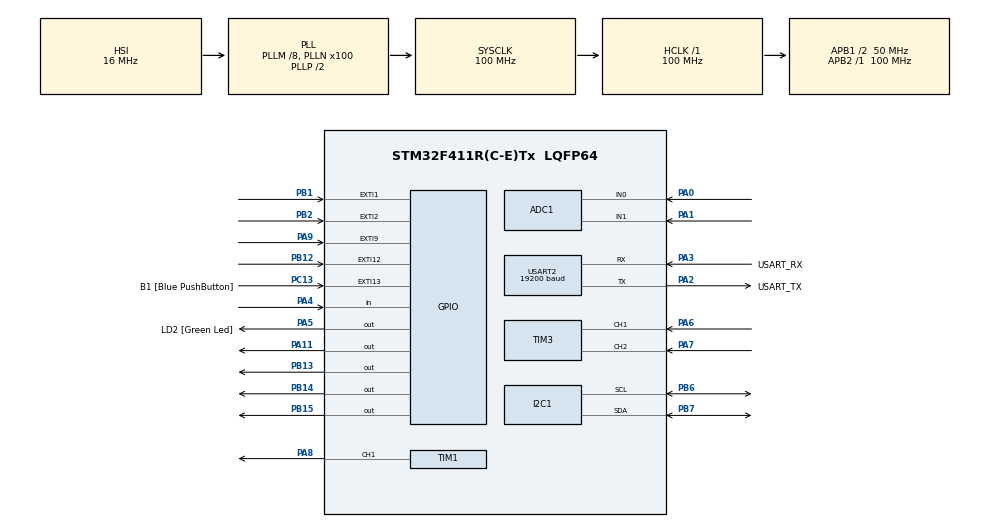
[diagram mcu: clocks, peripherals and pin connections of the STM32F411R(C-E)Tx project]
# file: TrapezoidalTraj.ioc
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ADC1.Channel-0\#ChannelRegularConversion=ADC_CHANNEL_0
ADC1.Channel-1\#ChannelRegularConversion=ADC_CHANNEL_1
ADC1.ContinuousConvMode=ENABLE
ADC1.DMAContinuousRequests=ENABLE
ADC1.EOCSelection=ADC_EOC_SINGLE_CONV
ADC1.NbrOfConversion=2
ADC1.NbrOfConversionFlag=1
ADC1.Rank-0\#ChannelRegularConversion=1
ADC1.Rank-1\#ChannelRegularConversion=2
ADC1.SamplingTime-0\#ChannelRegularConversion=ADC_SAMPLETIME_56CYCLES
ADC1.SamplingTime-1\#ChannelRegularConversion=ADC_SAMPLETIME_56CYCLES
ADC1.ScanConvMode=ENABLE
ADC1.master=1
Dma.ADC1.1.Direction=DMA_PERIPH_TO_MEMORY
Dma.ADC1.1.FIFOMode=DMA_FIFOMODE_DISABLE
Dma.ADC1.1.Instance=DMA2_Stream0
Dma.ADC1.1.MemDataAlignment=DMA_MDATAALIGN_HALFWORD
Dma.ADC1.1.MemInc=DMA_MINC_ENABLE
Dma.ADC1.1.Mode=DMA_CIRCULAR
Dma.ADC1.1.PeriphDataAlignment=DMA_PDATAALIGN_HALFWORD
Dma.ADC1.1.PeriphInc=DMA_PINC_DISABLE
Dma.ADC1.1.Priority=DMA_PRIORITY_LOW
Dma.I2C1_RX.2.Direction=DMA_PERIPH_TO_MEMORY
Dma.I2C1_RX.2.FIFOMode=DMA_FIFOMODE_DISABLE
Dma.I2C1_RX.2.Instance=DMA1_Stream0
Dma.I2C1_RX.2.MemDataAlignment=DMA_MDATAALIGN_BYTE
Dma.I2C1_RX.2.MemInc=DMA_MINC_ENABLE
Dma.I2C1_RX.2.Mode=DMA_CIRCULAR
Dma.I2C1_RX.2.PeriphDataAlignment=DMA_PDATAALIGN_BYTE
Dma.I2C1_RX.2.PeriphInc=DMA_PINC_DISABLE
Dma.I2C1_RX.2.Priority=DMA_PRIORITY_LOW
Dma.Request0=USART2_TX
Dma.Request1=ADC1
Dma.Request2=I2C1_RX
Dma.USART2_TX.0.Direction=DMA_MEMORY_TO_PERIPH
Dma.USART2_TX.0.FIFOMode=DMA_FIFOMODE_DISABLE
Dma.USART2_TX.0.Instance=DMA1_Stream6
Dma.USART2_TX.0.MemDataAlignment=DMA_MDATAALIGN_BYTE
Dma.USART2_TX.0.MemInc=DMA_MINC_ENABLE
Dma.USART2_TX.0.Mode=DMA_NORMAL
Dma.USART2_TX.0.PeriphDataAlignment=DMA_PDATAALIGN_BYTE
Dma.USART2_TX.0.PeriphInc=DMA_PINC_DISABLE
Dma.USART2_TX.0.Priority=DMA_PRIORITY_LOW
Mcu.Family=STM32F4
Mcu.Name=STM32F411R(C-E)Tx
Mcu.Package=LQFP64
Mcu.UserConstants=QEI_PERIOD,65536
NVIC.DMA1_Stream0_IRQn=true\:0\:0\:false\:false\:true\:false\:true\:true
NVIC.DMA1_Stream6_IRQn=true\:0\:0\:false\:false\:true\:false\:true\:true
NVIC.DMA2_Stream0_IRQn=true\:0\:0\:false\:false\:true\:false\:true\:true
NVIC.EXTI15_10_IRQn=true\:0\:0\:false\:false\:true\:true\:true\:true
NVIC.EXTI1_IRQn=true\:0\:0\:false\:false\:true\:true\:true\:true
NVIC.EXTI2_IRQn=true\:0\:0\:false\:false\:true\:true\:true\:true
NVIC.EXTI9_5_IRQn=true\:0\:0\:false\:false\:true\:true\:true\:true
NVIC.I2C1_ER_IRQn=true\:0\:0\:false\:false\:true\:true\:true\:true
NVIC.I2C1_EV_IRQn=true\:0\:0\:false\:false\:true\:true\:true\:true
NVIC.PriorityGroup=NVIC_PRIORITYGROUP_0
NVIC.TIM1_TRG_COM_TIM11_IRQn=true\:0\:0\:false\:false\:true\:true\:true\:true
NVIC.TIM3_IRQn=true\:0\:0\:false\:false\:true\:true\:true\:true
NVIC.TIM5_IRQn=true\:0\:0\:false\:false\:true\:true\:true\:true
NVIC.USART2_IRQn=true\:0\:0\:false\:false\:true\:true\:true\:true
PA0-WKUP.Signal=ADCx_IN0
PA1.Signal=ADCx_IN1
PA11.Signal=GPIO_Output
PA13.GPIO_Label=TMS
PA13.Mode=Trace_Asynchronous_SW
PA13.Signal=SYS_JTMS-SWDIO
PA14.GPIO_Label=TCK
PA14.Mode=Trace_Asynchronous_SW
PA14.Signal=SYS_JTCK-SWCLK
PA2.GPIO_Label=USART_TX
PA2.Mode=Asynchronous
PA2.Signal=USART2_TX
PA3.GPIO_Label=USART_RX
PA3.Mode=Asynchronous
PA3.Signal=USART2_RX
PA4.Signal=GPIO_Input
PA5.GPIO_Label=LD2 [Green Led]
PA5.Signal=GPIO_Output
PA6.Signal=S_TIM3_CH1
PA7.Signal=S_TIM3_CH2
PA8.Signal=S_TIM1_CH1
PA9.GPIO_PuPd=GPIO_PULLUP
PA9.Signal=GPXTI9
PB1.GPIO_PuPd=GPIO_PULLUP
PB1.Signal=GPXTI1
PB12.GPIO_ModeDefaultEXTI=GPIO_MODE_IT_RISING_FALLING
PB12.Signal=GPXTI12
PB13.Signal=GPIO_Output
PB14.Signal=GPIO_Output
PB15.Signal=GPIO_Output
PB2.GPIO_PuPd=GPIO_PULLUP
PB2.Signal=GPXTI2
PB3.GPIO_Label=SWO
PB3.Mode=Trace_Asynchronous_SW
PB3.Signal=SYS_JTDO-SWO
PB6.Mode=I2C
PB6.Signal=I2C1_SCL
PB7.Mode=I2C
PB7.Signal=I2C1_SDA
PC13-ANTI_TAMP.GPIO_Label=B1 [Blue PushButton]
PC13-ANTI_TAMP.GPIO_ModeDefaultEXTI=GPIO_MODE_IT_FALLING
PC13-ANTI_TAMP.Signal=GPXTI13
PC14-OSC32_IN.Mode=LSE-External-Oscillator
PC14-OSC32_IN.Signal=RCC_OSC32_IN
PC15-OSC32_OUT.Mode=LSE-External-Oscillator
PC15-OSC32_OUT.Signal=RCC_OSC32_OUT
PH0\ -\ OSC_IN.Mode=HSE-External-Clock-Source
PH0\ -\ OSC_IN.Signal=RCC_OSC_IN
PH1\ -\ OSC_OUT.Mode=HSE-External-Clock-Source
PH1\ -\ OSC_OUT.Signal=RCC_OSC_OUT
ProjectManager.HeapSize=0x200
ProjectManager.StackSize=0x400
ProjectManager.TargetToolchain=STM32CubeIDE
RCC.48MHZClocksFreq_Value=50000000
RCC.AHBFreq_Value=100000000
RCC.APB1CLKDivider=RCC_HCLK_DIV2
RCC.APB1Freq_Value=50000000
RCC.APB1TimFreq_Value=100000000
RCC.APB2Freq_Value=100000000
RCC.APB2TimFreq_Value=100000000
RCC.CortexFreq_Value=100000000
RCC.FLatency-AdvancedSettings=FLASH_LATENCY_3
RCC.HCLKFreq_Value=100000000
RCC.HSE_VALUE=8000000
RCC.HSI_VALUE=16000000
RCC.PLLM=8
RCC.PLLN=100
RCC.SYSCLKFreq_VALUE=100000000
RCC.SYSCLKSource=RCC_SYSCLKSOURCE_PLLCLK
RCC.VCOOutputFreq_Value=200000000
SH.ADCx_IN0.0=ADC1_IN0,IN0
SH.ADCx_IN1.0=ADC1_IN1,IN1
SH.S_TIM1_CH1.0=TIM1_CH1,PWM Generation1 CH1
SH.S_TIM3_CH1.0=TIM3_CH1,Encoder_Interface
SH.S_TIM3_CH2.0=TIM3_CH2,Encoder_Interface
TIM1.Channel-PWM\ Generation1\ CH1=TIM_CHANNEL_1
TIM1.Period=49999
TIM1.Prescaler=0
TIM1.Pulse-PWM\ Generation1\ CH1=0
TIM11.Channel=TIM_CHANNEL_1
TIM11.OCMode_1=TIM_OCMODE_ACTIVE
TIM11.Period=2005
TIM11.Prescaler=99
TIM11.Pulse=1433
TIM3.EncoderMode=TIM_ENCODERMODE_TI12
TIM3.Period=QEI_PERIOD - 1
TIM5.Period=99999
TIM5.Prescaler=0
USART2.BaudRate=19200
USART2.Parity=PARITY_EVEN
USART2.VirtualMode=VM_ASYNC
USART2.WordLength=WORDLENGTH_9B
VP_TIM11_VS_ClockSourceINT.Mode=Enable_Timer
VP_TIM11_VS_no_output1.Mode=Output Compare1 No Output
VP_TIM1_VS_ClockSourceINT.Mode=Internal
VP_TIM5_VS_ClockSourceINT.Mode=Internal
board=NUCLEO-F411RE

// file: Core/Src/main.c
/* USER CODE BEGIN Header */
/**
  ******************************************************************************
  * @file           : main.c
  * @brief          : Main program body
  ******************************************************************************
  * @attention
  *
  * Copyright (c) 2023 STMicroelectronics.
  * All rights reserved.
  *
  * This software is licensed under terms that can be found in the LICENSE file
  * in the root directory of this software component.
  * If no LICENSE file comes with this software, it is provided AS-IS.
  *
  ******************************************************************************
  */
/* USER CODE END Header */
#include "main.h"

/* USER CODE BEGIN Includes */
#include "arm_math.h"
#include "Encoder.h"
#include "TrapezoidalTrajectory.h"
#include "Controller.h"
#include "LinearDrive.h"
#include "ModBusRTU.h"
#include "joyStick.h"
#include "holePositionsCartesian.h"
#include "EndEffector.h"
#include "Effstatus.h"
#include "BaseSystemStateMachine.h"

/* USER CODE END Includes */

ADC_HandleTypeDef hadc1;
DMA_HandleTypeDef hdma_adc1;

I2C_HandleTypeDef hi2c1;
DMA_HandleTypeDef hdma_i2c1_rx;

TIM_HandleTypeDef htim1;
TIM_HandleTypeDef htim3;
TIM_HandleTypeDef htim5;
TIM_HandleTypeDef htim11;

UART_HandleTypeDef huart2;
DMA_HandleTypeDef hdma_usart2_tx;

/* USER CODE BEGIN PV */
//Parameters =================================================================================
// Trajectory --------------------------------------------------------------------------------
uint64_t t_traj = 0;	  // [us] 		Time use in trajectory function
uint64_t t_total_actual = 0;
float q_des;			  // [mm] 		Desire position calculated from trajectory
float qdot_des;			  // [mm/s] 	Desire velocity calculated from trajectory
float qddot_des;		  // [mm/s^2] 	Desire acceleration calculated from trajectory
Traj  traj;
float Pi = 0;		  	  // [mm]
float Pf = 0;			  // [mm]
float Pf_last = 0;
uint8_t SteadyStateFlag = 0;
//// Time -----------------------------------------------------------------------------------
uint64_t _micros = 0;
// QEI --------------------------------------------------------------------------------------
QEIStructureTypeDef QEIData = {0};
// PID --------------------------------------------------------------------------------------
float PulseWidthModulation = 0;
uint8_t ControllerFlag = 0;
PID Controller;
uint8_t emerpass = 0;
enum {Idle, Follow} state = Idle;
// Stroke Safety ----------------------------------------------------------------------------
uint8_t P_disallow = 0;
uint8_t N_disallow = 0;
// Set Home ---------------------------------------------------------------------------------
uint8_t SetHomeYFlag = 1;
uint8_t CenterFlag = 0;
// Elec -------------------------------------------------------------------------------------
//EndEffector
uint8_t 	softReset_cmd[] = {0x00,0xFF,0x55,0xAA};
uint8_t		emerMode_cmd[]  = {0xF1,0x99,0x99,0x99};
uint8_t		exitEmer_cmd[]  = {0xE5,0x7A,0xFF,0x81};
uint8_t 	testMode_cmd[]  = {0x01,0x10,0x99,0x99};
uint8_t 	exitTest_cmd[]  = {0x01,0x00,0x99,0x99};
uint8_t		runMode_cmd[]   = {0x10,0x13,0x99,0x99};
uint8_t		exitRun_cmd[]   = {0x10,0x8C,0x99,0x99};
uint8_t		pickup_cmd[]    = {0x10,0x5A,0x99,0x99};
uint8_t		place_cmd[]     = {0x10,0x69,0x99,0x99};
uint8_t 	AllOff_cmd[]	= {0x01,0x00,0x99,0x99,0x10,0x8C,0x99,0x99};

//uint8_t 	exitEmerAndAllOff = exitEmer
uint8_t 	exitEmerAndtestMode_cmd[] 	= {0xE5,0x7A,0xFF,0x81,0x01,0x10,0x99,0x99};
uint8_t 	exitEmerAndrunMode_cmd[] 	= {0xE5,0x7A,0xFF,0x81,0x10,0x13,0x99,0x99};
uint8_t 	exitEmerAndpickup_cmd[] 	= {0xE5,0x7A,0xFF,0x81,0x10,0x5A,0x99,0x99};
uint8_t 	exitEmerAndplace_cmd[] 		= {0xE5,0x7A,0xFF,0x81,0x10,0x69,0x99,0x99};

uint8_t 	effst[1];
uint8_t     readFlag 					= 0;
uint8_t 	writeflag_ls 				= 0;
uint8_t 	effstatus;
uint8_t 	effstatus_temp;
uint8_t 	effreg_temp;

uint16_t 	EffRegState					= 0;

uint8_t 	EndEffectorSoftResetFlag 	= 1;
uint8_t		EffAllOff_Flag				= 0;
uint8_t		EffLaserOn_Flag				= 0;
uint8_t		EffGripperOn_Flag			= 0;
uint8_t		EffGripperPick_Flag			= 0;
uint8_t		EffGripperPlace_Flag		= 0;
uint8_t 	eff_action 					= 0;
uint16_t 	eff_l 						= 0;
uint16_t 	eff_c 						= 0;
uint16_t 	effst_mb 					= 0;
// Emergency Switch
uint8_t emer_pushed = 1;
// Photoelectric sensor
uint8_t 	pe1_st;
uint8_t 	pe2_st;					//Photoelectric Sensor Value
uint8_t 	pe3_st;
//joy stick----------------------------------------
uint16_t adcRawData[20];
uint32_t IN0[10]; //X
uint32_t IN1[10]; //Y
uint8_t JoyStickSwitch = 0;
uint32_t X_axis, Y_axis;
uint32_t joystickXaxis, joystickYaxis;
uint8_t JoyStickReadyFlag = 0;
float DummyA;
float DummyB;
//Overshoot Testing--------------------------------
float  max_pos = 0;
float  overshoot = 0;
//nine holes of tray-------------------------------
float32_t Pickreference[2] = {0, 0};
float32_t Pickopposite[2] = {0, 0};
float32_t PickrotationAngleRadian = 0;
float32_t PickrotationAngleDegree = 0;
float32_t PickTray9holes[18];
float32_t Placereference[2] = {0, 0};
float32_t Placeopposite[2] = {0, 0};
float32_t PlacerotationAngleRadian = 0;
float32_t PlacerotationAngleDegree = 0;
float32_t PlaceTray9holes[18];
uint8_t GoalReadyFlag = 0;
// Modbus -----------------------------------------------------------------------------------
ModbusHandleTypedef hmodbus;
u16u8_t registerFrame[70];
// Base System ------------------------------------------------------------------------------
uint8_t SetPickTrayFlag = 0;
uint8_t SetPlaceTrayFlag = 0;
uint8_t SetHomeFlag = 0;
uint8_t RunTrayFlag = 0;
uint8_t RunPointFlag = 0;
//===========================================================================================
/* USER CODE END PV */

void SystemClock_Config(void);
static void MX_GPIO_Init(void);
static void MX_DMA_Init(void);
static void MX_USART2_UART_Init(void);
static void MX_TIM5_Init(void);
static void MX_TIM1_Init(void);
static void MX_TIM3_Init(void);
static void MX_TIM11_Init(void);
static void MX_ADC1_Init(void);
static void MX_I2C1_Init(void);
/* USER CODE BEGIN PFP */
void ControllerState();
void check_pe();
/* USER CODE END PFP */

int main(void)
{

  /* MCU Configuration--------------------------------------------------------*/

  /* Reset of all peripherals, Initializes the Flash interface and the Systick. */	HAL_Init();

  /* Configure the system clock */
  SystemClock_Config();

  /* Initialize all configured peripherals */
  MX_GPIO_Init();
  MX_DMA_Init();
  MX_USART2_UART_Init();
  MX_TIM5_Init();
  MX_TIM1_Init();
  MX_TIM3_Init();
  MX_TIM11_Init();
  MX_ADC1_Init();
  MX_I2C1_Init();
  /* USER CODE BEGIN 2 */
  HAL_TIM_Base_Start_IT(&htim5);
  HAL_TIM_Base_Start(&htim1);
  HAL_TIM_Encoder_Start(&htim3, TIM_CHANNEL_ALL);

  //eff_write(testMode_cmd);
  HAL_TIM_PWM_Start(&htim1, TIM_CHANNEL_1);

  Controller.Kp = 1100;
  Controller.Ki = 10;
  Controller.Kd = 0;

  hmodbus.huart = &huart2;
  hmodbus.htim = &htim11;
  hmodbus.slaveAddress = 0x15;
  hmodbus.RegisterSize =70;
  Modbus_init(&hmodbus, registerFrame);

  //joy stick--------------------------
  HAL_ADC_Start_DMA(&hadc1, adcRawData, 20);
  //-----------------------------------

//	PickTray9holes[1] = 300;
//	PlaceTray9holes[1] = -300;
//	PickTray9holes[3] = 300;
//	PlaceTray9holes[3] = -300;
//	PickTray9holes[5] = 200;
//	PlaceTray9holes[5] = -200;
//	PickTray9holes[7] = 200;
//	PlaceTray9holes[7] = -200;
//	PickTray9holes[9] = 100;
//	PlaceTray9holes[9] = -100;
//	PickTray9holes[11] = 100;
//	PlaceTray9holes[11] = -100;
//	PickTray9holes[13] = 100;
//	PlaceTray9holes[13] = -100;
//	PickTray9holes[15] = 200;
//	PlaceTray9holes[15] = -300;
//	PickTray9holes[17] = 300;
//	PlaceTray9holes[17] = -50;

//  	PickTray9holes[1] = 300;
//  	PlaceTray9holes[1] = -300;
//  	PickTray9holes[3] = 300;
//  	PlaceTray9holes[3] = -300;
//  	PickTray9holes[5] = 300;
//  	PlaceTray9holes[5] = -300;
//  	PickTray9holes[7] = 300;
//  	PlaceTray9holes[7] = -300;
//  	PickTray9holes[9] = 300;
//  	PlaceTray9holes[9] = -300;
//  	PickTray9holes[11] = 300;
//  	PlaceTray9holes[11] = -300;
//  	PickTray9holes[13] = 300;
//  	PlaceTray9holes[13] = -300;
//  	PickTray9holes[15] = 300;
//  	PlaceTray9holes[15] = -300;
//  	PickTray9holes[17] = 300;
//  	PlaceTray9holes[17] = -300;

//  Pickreference[0] = 100;
//  Pickreference[1] = 100;
//  PickrotationAngleRadian = 0.785;
//
//  Placereference[0] = -67.2;
//  Placereference[1] = -239.8;
//  PlacerotationAngleRadian = -1.853;

  /* USER CODE END 2 */

  /* Infinite loop */
  while (1)
  {

    /* USER CODE BEGIN 3 */
	  static uint64_t timestamp = 0;
	  if (micros(&htim5) >= timestamp)
	  {
		  timestamp = micros(&htim5) + 2000;

		  SetHome(&htim3, &htim1);

		  if (EndEffectorSoftResetFlag)
		  {
			  eff_write(softReset_cmd);
			  EndEffectorSoftResetFlag = 0;
		  }

//		  eff_c = registerFrame[2].U16;
//		  if(eff_l != eff_c)
//		  {
//			  eff_action = 1;
//		  }

		  switch (registerFrame[1].U16)
		  {
		  case 0b00001:
			  SetPickTrayFlag = 1;
		  break;
		  case 0b00010:
			  SetPlaceTrayFlag = 1;
		  break;
		  case 0b00100:
			  SetHomeFlag = 1;
		  break;
		  case 0b01000:
			  RunTrayFlag = 1;
		  break;
		  case 0b10000:
			  RunPointFlag = 1;
		  break;
		  }

//		  EffRegState = registerFrame[2].U16;
//
//		  switch(EffRegState){
//		  case 0b0000:	//everything off
//			  if(eff_action == 1){
//				  EffAllOff_Flag = 1;
//				  eff_action = 0;
//			  }
//			  break;
//		  case 0b0001:	//laser on
//			  if(eff_action == 1){
//				  EffLaserOn_Flag = 1;
//				  eff_action = 0;
//			  }
//			  break;
//		  case 0b0010:	//gripper on
//			  if(eff_action == 1){
//				  EffGripperOn_Flag = 1;
//				  eff_action = 0;
//			  }
//			  break;
//		  case 0b0110:	//gripper picking
//			  if(eff_action == 1){
//				  EffGripperPick_Flag = 1;
//				  eff_action = 0;
//			  }
//			  break;
//		  case 0b1010:	//gripper placing
//			  if(eff_action == 1){
//				  EffGripperPlace_Flag = 1;
//				  eff_action = 0;
//			  }
//			  break;
//		  }

		  if (emer_pushed)
		  {
			  if (!(SetPickTrayFlag || SetPlaceTrayFlag || SetHomeFlag || RunTrayFlag || RunPointFlag || SetHomeYFlag))
			  {
				  GetJoystickXYaxisValue(&DummyA, &DummyB);
				  JoyStickControlCartesian();
			  }

			  BaseSystem_SetPickTray();
			  BaseSystem_SetPlaceTray();
			  BaseSystem_SetHome();
			  BaseSystem_RuntrayMode();
			  BaseSystem_RunPointMode();

//			  BaseSystem_EffAllOff();
//			  BaseSystem_EffLaserOn();
//			  BaseSystem_EffGripperOn();
//			  BaseSystem_EffGripperPick();
//			  BaseSystem_EffGripperPlace();
		  }

//		  static uint8_t j = 0;
//		  if (j == 0)
//		  {
//			  eff_st();
//		  }
//		  j = (j + 1) % 250;
//
//		  eff_l = eff_c;

		  static uint8_t i = 0;
		  if (i == 0)
		  {
			  registerFrame[0].U16 = 0b0101100101100001; //Ya 22881
			  Modbus_Protocal_Worker();
		  }
		  i = (i + 1) % 50;
	   }
  }
  /* USER CODE END 3 */
}

void SystemClock_Config(void)
{
  RCC_OscInitTypeDef RCC_OscInitStruct = {0};
  RCC_ClkInitTypeDef RCC_ClkInitStruct = {0};

  /** Configure the main internal regulator output voltage
  */
  __HAL_RCC_PWR_CLK_ENABLE();
  __HAL_PWR_VOLTAGESCALING_CONFIG(PWR_REGULATOR_VOLTAGE_SCALE1);

  /** Initializes the RCC Oscillators according to the specified parameters
  * in the RCC_OscInitTypeDef structure.
  */
  RCC_OscInitStruct.OscillatorType = RCC_OSCILLATORTYPE_HSI;
  RCC_OscInitStruct.HSIState = RCC_HSI_ON;
  RCC_OscInitStruct.HSICalibrationValue = RCC_HSICALIBRATION_DEFAULT;
  RCC_OscInitStruct.PLL.PLLState = RCC_PLL_ON;
  RCC_OscInitStruct.PLL.PLLSource = RCC_PLLSOURCE_HSI;
  RCC_OscInitStruct.PLL.PLLM = 8;
  RCC_OscInitStruct.PLL.PLLN = 100;
  RCC_OscInitStruct.PLL.PLLP = RCC_PLLP_DIV2;
  RCC_OscInitStruct.PLL.PLLQ = 4;
  if (HAL_RCC_OscConfig(&RCC_OscInitStruct) != HAL_OK)
  {
    Error_Handler();
  }

  /** Initializes the CPU, AHB and APB buses clocks
  */
  RCC_ClkInitStruct.ClockType = RCC_CLOCKTYPE_HCLK|RCC_CLOCKTYPE_SYSCLK
                              |RCC_CLOCKTYPE_PCLK1|RCC_CLOCKTYPE_PCLK2;
  RCC_ClkInitStruct.SYSCLKSource = RCC_SYSCLKSOURCE_PLLCLK;
  RCC_ClkInitStruct.AHBCLKDivider = RCC_SYSCLK_DIV1;
  RCC_ClkInitStruct.APB1CLKDivider = RCC_HCLK_DIV2;
  RCC_ClkInitStruct.APB2CLKDivider = RCC_HCLK_DIV1;

  if (HAL_RCC_ClockConfig(&RCC_ClkInitStruct, FLASH_LATENCY_3) != HAL_OK)
  {
    Error_Handler();
  }
}

static void MX_ADC1_Init(void)
{

  /* USER CODE BEGIN ADC1_Init 0 */
//#define break while(1){}
  /* USER CODE END ADC1_Init 0 */

  ADC_ChannelConfTypeDef sConfig = {0};

  /** Configure the global features of the ADC (Clock, Resolution, Data Alignment and number of conversion)
  */
  hadc1.Instance = ADC1;
  hadc1.Init.ClockPrescaler = ADC_CLOCK_SYNC_PCLK_DIV4;
  hadc1.Init.Resolution = ADC_RESOLUTION_12B;
  hadc1.Init.ScanConvMode = ENABLE;
  hadc1.Init.ContinuousConvMode = ENABLE;
  hadc1.Init.DiscontinuousConvMode = DISABLE;
  hadc1.Init.ExternalTrigConvEdge = ADC_EXTERNALTRIGCONVEDGE_NONE;
  hadc1.Init.ExternalTrigConv = ADC_SOFTWARE_START;
  hadc1.Init.DataAlign = ADC_DATAALIGN_RIGHT;
  hadc1.Init.NbrOfConversion = 2;
  hadc1.Init.DMAContinuousRequests = ENABLE;
  hadc1.Init.EOCSelection = ADC_EOC_SINGLE_CONV;
  if (HAL_ADC_Init(&hadc1) != HAL_OK)
  {
    Error_Handler();
  }

  /** Configure for the selected ADC regular channel its corresponding rank in the sequencer and its sample time.
  */
  sConfig.Channel = ADC_CHANNEL_0;
  sConfig.Rank = 1;
  sConfig.SamplingTime = ADC_SAMPLETIME_56CYCLES;
  if (HAL_ADC_ConfigChannel(&hadc1, &sConfig) != HAL_OK)
  {
    Error_Handler();
  }

  /** Configure for the selected ADC regular channel its corresponding rank in the sequencer and its sample time.
  */
  sConfig.Channel = ADC_CHANNEL_1;
  sConfig.Rank = 2;
  if (HAL_ADC_ConfigChannel(&hadc1, &sConfig) != HAL_OK)
  {
    Error_Handler();
  }

}

static void MX_I2C1_Init(void)
{

  hi2c1.Instance = I2C1;
  hi2c1.Init.ClockSpeed = 100000;
  hi2c1.Init.DutyCycle = I2C_DUTYCYCLE_2;
  hi2c1.Init.OwnAddress1 = 0;
  hi2c1.Init.AddressingMode = I2C_ADDRESSINGMODE_7BIT;
  hi2c1.Init.DualAddressMode = I2C_DUALADDRESS_DISABLE;
  hi2c1.Init.OwnAddress2 = 0;
  hi2c1.Init.GeneralCallMode = I2C_GENERALCALL_DISABLE;
  hi2c1.Init.NoStretchMode = I2C_NOSTRETCH_DISABLE;
  if (HAL_I2C_Init(&hi2c1) != HAL_OK)
  {
    Error_Handler();
  }

}

static void MX_TIM1_Init(void)
{

  TIM_ClockConfigTypeDef sClockSourceConfig = {0};
  TIM_MasterConfigTypeDef sMasterConfig = {0};
  TIM_OC_InitTypeDef sConfigOC = {0};
  TIM_BreakDeadTimeConfigTypeDef sBreakDeadTimeConfig = {0};

  htim1.Instance = TIM1;
  htim1.Init.Prescaler = 0;
  htim1.Init.CounterMode = TIM_COUNTERMODE_UP;
  htim1.Init.Period = 49999;
  htim1.Init.ClockDivision = TIM_CLOCKDIVISION_DIV1;
  htim1.Init.RepetitionCounter = 0;
  htim1.Init.AutoReloadPreload = TIM_AUTORELOAD_PRELOAD_DISABLE;
  if (HAL_TIM_Base_Init(&htim1) != HAL_OK)
  {
    Error_Handler();
  }
  sClockSourceConfig.ClockSource = TIM_CLOCKSOURCE_INTERNAL;
  if (HAL_TIM_ConfigClockSource(&htim1, &sClockSourceConfig) != HAL_OK)
  {
    Error_Handler();
  }
  if (HAL_TIM_PWM_Init(&htim1) != HAL_OK)
  {
    Error_Handler();
  }
  sMasterConfig.MasterOutputTrigger = TIM_TRGO_RESET;
  sMasterConfig.MasterSlaveMode = TIM_MASTERSLAVEMODE_DISABLE;
  if (HAL_TIMEx_MasterConfigSynchronization(&htim1, &sMasterConfig) != HAL_OK)
  {
    Error_Handler();
  }
  sConfigOC.OCMode = TIM_OCMODE_PWM1;
  sConfigOC.Pulse = 0;
  sConfigOC.OCPolarity = TIM_OCPOLARITY_HIGH;
  sConfigOC.OCNPolarity = TIM_OCNPOLARITY_HIGH;
  sConfigOC.OCFastMode = TIM_OCFAST_DISABLE;
  sConfigOC.OCIdleState = TIM_OCIDLESTATE_RESET;
  sConfigOC.OCNIdleState = TIM_OCNIDLESTATE_RESET;
  if (HAL_TIM_PWM_ConfigChannel(&htim1, &sConfigOC, TIM_CHANNEL_1) != HAL_OK)
  {
    Error_Handler();
  }
  sBreakDeadTimeConfig.OffStateRunMode = TIM_OSSR_DISABLE;
  sBreakDeadTimeConfig.OffStateIDLEMode = TIM_OSSI_DISABLE;
  sBreakDeadTimeConfig.LockLevel = TIM_LOCKLEVEL_OFF;
  sBreakDeadTimeConfig.DeadTime = 0;
  sBreakDeadTimeConfig.BreakState = TIM_BREAK_DISABLE;
  sBreakDeadTimeConfig.BreakPolarity = TIM_BREAKPOLARITY_HIGH;
  sBreakDeadTimeConfig.AutomaticOutput = TIM_AUTOMATICOUTPUT_DISABLE;
  if (HAL_TIMEx_ConfigBreakDeadTime(&htim1, &sBreakDeadTimeConfig) != HAL_OK)
  {
    Error_Handler();
  }
  HAL_TIM_MspPostInit(&htim1);

}

static void MX_TIM3_Init(void)
{

  TIM_Encoder_InitTypeDef sConfig = {0};
  TIM_MasterConfigTypeDef sMasterConfig = {0};

  htim3.Instance = TIM3;
  htim3.Init.Prescaler = 0;
  htim3.Init.CounterMode = TIM_COUNTERMODE_UP;
  htim3.Init.Period = QEI_PERIOD - 1;
  htim3.Init.ClockDivision = TIM_CLOCKDIVISION_DIV1;
  htim3.Init.AutoReloadPreload = TIM_AUTORELOAD_PRELOAD_DISABLE;
  sConfig.EncoderMode = TIM_ENCODERMODE_TI12;
  sConfig.IC1Polarity = TIM_ICPOLARITY_RISING;
  sConfig.IC1Selection = TIM_ICSELECTION_DIRECTTI;
  sConfig.IC1Prescaler = TIM_ICPSC_DIV1;
  sConfig.IC1Filter = 0;
  sConfig.IC2Polarity = TIM_ICPOLARITY_RISING;
  sConfig.IC2Selection = TIM_ICSELECTION_DIRECTTI;
  sConfig.IC2Prescaler = TIM_ICPSC_DIV1;
  sConfig.IC2Filter = 0;
  if (HAL_TIM_Encoder_Init(&htim3, &sConfig) != HAL_OK)
  {
    Error_Handler();
  }
  sMasterConfig.MasterOutputTrigger = TIM_TRGO_RESET;
  sMasterConfig.MasterSlaveMode = TIM_MASTERSLAVEMODE_DISABLE;
  if (HAL_TIMEx_MasterConfigSynchronization(&htim3, &sMasterConfig) != HAL_OK)
  {
    Error_Handler();
  }

}

static void MX_TIM5_Init(void)
{

  TIM_ClockConfigTypeDef sClockSourceConfig = {0};
  TIM_MasterConfigTypeDef sMasterConfig = {0};

  htim5.Instance = TIM5;
  htim5.Init.Prescaler = 0;
  htim5.Init.CounterMode = TIM_COUNTERMODE_UP;
  htim5.Init.Period = 99999;
  htim5.Init.ClockDivision = TIM_CLOCKDIVISION_DIV1;
  htim5.Init.AutoReloadPreload = TIM_AUTORELOAD_PRELOAD_DISABLE;
  if (HAL_TIM_Base_Init(&htim5) != HAL_OK)
  {
    Error_Handler();
  }
  sClockSourceConfig.ClockSource = TIM_CLOCKSOURCE_INTERNAL;
  if (HAL_TIM_ConfigClockSource(&htim5, &sClockSourceConfig) != HAL_OK)
  {
    Error_Handler();
  }
  sMasterConfig.MasterOutputTrigger = TIM_TRGO_RESET;
  sMasterConfig.MasterSlaveMode = TIM_MASTERSLAVEMODE_DISABLE;
  if (HAL_TIMEx_MasterConfigSynchronization(&htim5, &sMasterConfig) != HAL_OK)
  {
    Error_Handler();
  }

}

static void MX_TIM11_Init(void)
{

  TIM_OC_InitTypeDef sConfigOC = {0};

  htim11.Instance = TIM11;
  htim11.Init.Prescaler = 99;
  htim11.Init.CounterMode = TIM_COUNTERMODE_UP;
  htim11.Init.Period = 2005;
  htim11.Init.ClockDivision = TIM_CLOCKDIVISION_DIV1;
  htim11.Init.AutoReloadPreload = TIM_AUTORELOAD_PRELOAD_DISABLE;
  if (HAL_TIM_Base_Init(&htim11) != HAL_OK)
  {
    Error_Handler();
  }
  if (HAL_TIM_OC_Init(&htim11) != HAL_OK)
  {
    Error_Handler();
  }
  sConfigOC.OCMode = TIM_OCMODE_ACTIVE;
  sConfigOC.Pulse = 1433;
  sConfigOC.OCPolarity = TIM_OCPOLARITY_HIGH;
  sConfigOC.OCFastMode = TIM_OCFAST_DISABLE;
  if (HAL_TIM_OC_ConfigChannel(&htim11, &sConfigOC, TIM_CHANNEL_1) != HAL_OK)
  {
    Error_Handler();
  }

}

static void MX_USART2_UART_Init(void)
{

  huart2.Instance = USART2;
  huart2.Init.BaudRate = 19200;
  huart2.Init.WordLength = UART_WORDLENGTH_9B;
  huart2.Init.StopBits = UART_STOPBITS_1;
  huart2.Init.Parity = UART_PARITY_EVEN;
  huart2.Init.Mode = UART_MODE_TX_RX;
  huart2.Init.HwFlowCtl = UART_HWCONTROL_NONE;
  huart2.Init.OverSampling = UART_OVERSAMPLING_16;
  if (HAL_UART_Init(&huart2) != HAL_OK)
  {
    Error_Handler();
  }

}

static void MX_DMA_Init(void)
{

  /* DMA controller clock enable */
  __HAL_RCC_DMA1_CLK_ENABLE();
  __HAL_RCC_DMA2_CLK_ENABLE();

  /* DMA interrupt init */
  /* DMA1_Stream0_IRQn interrupt configuration */
  HAL_NVIC_SetPriority(DMA1_Stream0_IRQn, 0, 0);
  HAL_NVIC_EnableIRQ(DMA1_Stream0_IRQn);
  /* DMA1_Stream6_IRQn interrupt configuration */
  HAL_NVIC_SetPriority(DMA1_Stream6_IRQn, 0, 0);
  HAL_NVIC_EnableIRQ(DMA1_Stream6_IRQn);
  /* DMA2_Stream0_IRQn interrupt configuration */
  HAL_NVIC_SetPriority(DMA2_Stream0_IRQn, 0, 0);
  HAL_NVIC_EnableIRQ(DMA2_Stream0_IRQn);

}

static void MX_GPIO_Init(void)
{
  GPIO_InitTypeDef GPIO_InitStruct = {0};

  /* GPIO Ports Clock Enable */
  __HAL_RCC_GPIOC_CLK_ENABLE();
  __HAL_RCC_GPIOH_CLK_ENABLE();
  __HAL_RCC_GPIOA_CLK_ENABLE();
  __HAL_RCC_GPIOB_CLK_ENABLE();

  /*Configure GPIO pin Output Level */
  HAL_GPIO_WritePin(GPIOA, LD2_Pin|GPIO_PIN_11, GPIO_PIN_RESET);

  /*Configure GPIO pin Output Level */
  HAL_GPIO_WritePin(GPIOB, GPIO_PIN_13|GPIO_PIN_14|GPIO_PIN_15, GPIO_PIN_RESET);

  /*Configure GPIO pin : B1_Pin */
  GPIO_InitStruct.Pin = B1_Pin;
  GPIO_InitStruct.Mode = GPIO_MODE_IT_FALLING;
  GPIO_InitStruct.Pull = GPIO_NOPULL;
  HAL_GPIO_Init(B1_GPIO_Port, &GPIO_InitStruct);

  /*Configure GPIO pin : PA4 */
  GPIO_InitStruct.Pin = GPIO_PIN_4;
  GPIO_InitStruct.Mode = GPIO_MODE_INPUT;
  GPIO_InitStruct.Pull = GPIO_NOPULL;
  HAL_GPIO_Init(GPIOA, &GPIO_InitStruct);

  /*Configure GPIO pins : LD2_Pin PA11 */
  GPIO_InitStruct.Pin = LD2_Pin|GPIO_PIN_11;
  GPIO_InitStruct.Mode = GPIO_MODE_OUTPUT_PP;
  GPIO_InitStruct.Pull = GPIO_NOPULL;
  GPIO_InitStruct.Speed = GPIO_SPEED_FREQ_LOW;
  HAL_GPIO_Init(GPIOA, &GPIO_InitStruct);

  /*Configure GPIO pins : PB1 PB2 */
  GPIO_InitStruct.Pin = GPIO_PIN_1|GPIO_PIN_2;
  GPIO_InitStruct.Mode = GPIO_MODE_IT_RISING;
  GPIO_InitStruct.Pull = GPIO_PULLUP;
  HAL_GPIO_Init(GPIOB, &GPIO_InitStruct);

  /*Configure GPIO pin : PB12 */
  GPIO_InitStruct.Pin = GPIO_PIN_12;
  GPIO_InitStruct.Mode = GPIO_MODE_IT_RISING_FALLING;
  GPIO_InitStruct.Pull = GPIO_NOPULL;
  HAL_GPIO_Init(GPIOB, &GPIO_InitStruct);

  /*Configure GPIO pins : PB13 PB14 PB15 */
  GPIO_InitStruct.Pin = GPIO_PIN_13|GPIO_PIN_14|GPIO_PIN_15;
  GPIO_InitStruct.Mode = GPIO_MODE_OUTPUT_PP;
  GPIO_InitStruct.Pull = GPIO_NOPULL;
  GPIO_InitStruct.Speed = GPIO_SPEED_FREQ_LOW;
  HAL_GPIO_Init(GPIOB, &GPIO_InitStruct);

  /*Configure GPIO pin : PA9 */
  GPIO_InitStruct.Pin = GPIO_PIN_9;
  GPIO_InitStruct.Mode = GPIO_MODE_IT_RISING;
  GPIO_InitStruct.Pull = GPIO_PULLUP;
  HAL_GPIO_Init(GPIOA, &GPIO_InitStruct);

  /* EXTI interrupt init*/
  HAL_NVIC_SetPriority(EXTI1_IRQn, 0, 0);
  HAL_NVIC_EnableIRQ(EXTI1_IRQn);

  HAL_NVIC_SetPriority(EXTI2_IRQn, 0, 0);
  HAL_NVIC_EnableIRQ(EXTI2_IRQn);

  HAL_NVIC_SetPriority(EXTI9_5_IRQn, 0, 0);
  HAL_NVIC_EnableIRQ(EXTI9_5_IRQn);

  HAL_NVIC_SetPriority(EXTI15_10_IRQn, 0, 0);
  HAL_NVIC_EnableIRQ(EXTI15_10_IRQn);

}

/* USER CODE BEGIN 4 */
void HAL_TIM_PeriodElapsedCallback(TIM_HandleTypeDef *htim)
{
	if(htim == &htim5)
	{
//		if(writeflag_ls == 1){
//			eff_write(softReset_cmd);
//			writeflag_ls = 0;
//		}
//		if(writeflag_ls == 2){
//			eff_write(testMode_cmd);
//			writeflag_ls = 0;
//		}
//		if(writeflag_ls == 3){
//			eff_write(exitTest_cmd);
//			writeflag_ls = 0;
//		}
//		if(writeflag_ls == 4){
//			eff_write(runMode_cmd);
//			writeflag_ls = 0;
//		}
//		if(writeflag_ls == 5){
//			eff_write(exitRun_cmd);
//			writeflag_ls = 0;
//		}
//		if(writeflag_ls == 6){
//			eff_write(pickup_cmd);
//			writeflag_ls = 0;
//		}
//		if(writeflag_ls == 7){
//			eff_write(place_cmd);
//			writeflag_ls = 0;
//		}
//		if(writeflag_ls == 8){
//			eff_read();
//			writeflag_ls = 0;
//		}
//		if(writeflag_ls == 9){
//			eff_st();
//			writeflag_ls = 0;
//		}
		_micros += 1000;

		QEIEncoderPositionVelocity_Update(&htim3, &htim5);
		check_pe();
		SetHome(&htim3, &htim1);
		ControllerState();

		if (RunTrayFlag)
		{
			registerFrame[0].U16 = 0b0101100101100001; //Ya 22881
			Modbus_Protocal_Worker();
		}

//		eff_c = registerFrame[2].U16;
//		if(eff_l != eff_c)
//		{
//			eff_action = 1;
//		}
//
//		EffRegState = registerFrame[2].U16;
//
//		  switch(EffRegState){
//		  case 0b0000:	//everything off
//			  if(eff_action == 1){
//				  EffAllOff_Flag = 1;
//				  eff_action = 0;
//			  }
//			  break;
//		  case 0b0001:	//laser on
//			  if(eff_action == 1){
//				  EffLaserOn_Flag = 1;
//				  eff_action = 0;
//			  }
//			  break;
//		  case 0b0010:	//gripper on
//			  if(eff_action == 1){
//				  EffGripperOn_Flag = 1;
//				  eff_action = 0;
//			  }
//			  break;
//		  case 0b0110:	//gripper picking
//			  if(eff_action == 1){
//				  EffGripperPick_Flag = 1;
//				  eff_action = 0;
//			  }
//			  break;
//		  case 0b1010:	//gripper placing
//			  if(eff_action == 1){
//				  EffGripperPlace_Flag = 1;
//				  eff_action = 0;
//			  }
//			  break;
//		  }
//
//		  if (emer_pushed)
//		  {
//			  BaseSystem_EffAllOff();
//			  BaseSystem_EffLaserOn();
//			  BaseSystem_EffGripperOn();
//			  BaseSystem_EffGripperPick();
//			  BaseSystem_EffGripperPlace();
//		  }

//		  static uint8_t j = 0;
//		  if (j == 0)
//		  {
//			  eff_st();
//		  }
//		  j = (j + 1) % 250;

//		  eff_l = eff_c;

	}
}

void ControllerState()
{
	if (SetHomeYFlag == 0 && ControllerFlag)
	{
		switch(state)
		{
		case Idle:
			PulseWidthModulation = 0;
			MotorDrive(&htim1);
			Pi = QEIData.position;

			if(Pf != Pf_last || emerpass)
			{
				t_traj = 0;
				SteadyStateFlag = 0;
				QuinticTraj_PreCal(Pi, Pf, &traj);
				state = Follow;
				HAL_GPIO_WritePin(GPIOB, GPIO_PIN_14, GPIO_PIN_SET);
				emerpass = 0;
			}
		break;

		case Follow:
			t_traj = t_traj + 1000;
			if (t_traj <= traj.t_total * 1000000)
			{
				QuinticTraj_GetState(Pi, Pf, &traj, t_traj);
			}
			else
			{
				q_des = Pf;
			}

			PositionControlVelocityForm(&Controller);
			MotorDrive(&htim1);

			if(QEIData.position > max_pos)
			{
				max_pos = QEIData.position;
			}

			if (((t_traj > traj.t_total * 1000000) && (0.15 > fabs(q_des - QEIData.position)) && (SteadyStateFlag == 0)) || P_disallow || N_disallow)
			{
				t_total_actual = t_traj + 500000;
				SteadyStateFlag = 1;
			}

			if (SteadyStateFlag && (t_traj > t_total_actual) && (0.05 > fabs(q_des - QEIData.position)) || (P_disallow) || (N_disallow))
			{
				PulseWidthModulation = 0;
				MotorDrive(&htim1);
				state = Idle;
				overshoot = max_pos * 100/(Pf - Pi);
				max_pos = 0;
				HAL_GPIO_WritePin(GPIOB, GPIO_PIN_14, GPIO_PIN_RESET);
				ControllerFlag = 0;
			}
		break;
		}
		Pf_last = Pf;
	}
}

/* USER CODE END 4 */

void Error_Handler(void)
{
  __disable_irq();
  while (1)
  {
  }
}
